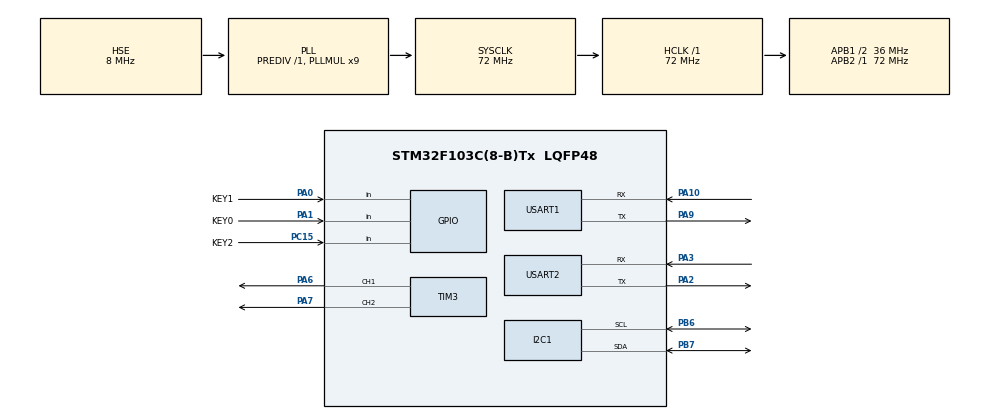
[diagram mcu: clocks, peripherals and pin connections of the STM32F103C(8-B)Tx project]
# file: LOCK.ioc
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Dma.Request0=USART2_RX
Dma.Request1=USART2_TX
Dma.USART2_RX.0.Direction=DMA_PERIPH_TO_MEMORY
Dma.USART2_RX.0.Instance=DMA1_Channel6
Dma.USART2_RX.0.MemDataAlignment=DMA_MDATAALIGN_BYTE
Dma.USART2_RX.0.MemInc=DMA_MINC_ENABLE
Dma.USART2_RX.0.Mode=DMA_NORMAL
Dma.USART2_RX.0.PeriphDataAlignment=DMA_PDATAALIGN_BYTE
Dma.USART2_RX.0.PeriphInc=DMA_PINC_DISABLE
Dma.USART2_RX.0.Priority=DMA_PRIORITY_LOW
Dma.USART2_TX.1.Direction=DMA_MEMORY_TO_PERIPH
Dma.USART2_TX.1.Instance=DMA1_Channel7
Dma.USART2_TX.1.MemDataAlignment=DMA_MDATAALIGN_BYTE
Dma.USART2_TX.1.MemInc=DMA_MINC_ENABLE
Dma.USART2_TX.1.Mode=DMA_NORMAL
Dma.USART2_TX.1.PeriphDataAlignment=DMA_PDATAALIGN_BYTE
Dma.USART2_TX.1.PeriphInc=DMA_PINC_DISABLE
Dma.USART2_TX.1.Priority=DMA_PRIORITY_LOW
FREERTOS.Tasks01=defaultTask,24,128,StartDefaultTask,Default,NULL,Dynamic,NULL,NULL
I2C1.I2C_Mode=I2C_Fast
Mcu.Family=STM32F1
Mcu.Name=STM32F103C(8-B)Tx
Mcu.Package=LQFP48
NVIC.DMA1_Channel6_IRQn=true\:5\:0\:false\:false\:true\:true\:false\:true\:true
NVIC.DMA1_Channel7_IRQn=true\:5\:0\:false\:false\:true\:true\:false\:true\:true
NVIC.PriorityGroup=NVIC_PRIORITYGROUP_4
NVIC.TIM2_IRQn=true\:15\:0\:false\:false\:true\:false\:false\:true\:true
NVIC.TimeBase=TIM2_IRQn
NVIC.TimeBaseIP=TIM2
NVIC.USART2_IRQn=true\:5\:0\:false\:false\:true\:true\:true\:true\:true
PA0-WKUP.GPIO_Label=KEY1
PA0-WKUP.Signal=GPIO_Input
PA1.GPIO_Label=KEY0
PA1.Signal=GPIO_Input
PA10.Mode=Asynchronous
PA10.Signal=USART1_RX
PA13.Mode=Serial_Wire
PA13.Signal=SYS_JTMS-SWDIO
PA14.Mode=Serial_Wire
PA14.Signal=SYS_JTCK-SWCLK
PA2.Mode=Asynchronous
PA2.Signal=USART2_TX
PA3.Mode=Asynchronous
PA3.Signal=USART2_RX
PA6.Signal=S_TIM3_CH1
PA7.Signal=S_TIM3_CH2
PA9.Mode=Asynchronous
PA9.Signal=USART1_TX
PB6.Mode=I2C
PB6.Signal=I2C1_SCL
PB7.Mode=I2C
PB7.Signal=I2C1_SDA
PC15-OSC32_OUT.GPIO_Label=KEY2
PC15-OSC32_OUT.Signal=GPIO_Input
PD0-OSC_IN.Mode=HSE-External-Oscillator
PD0-OSC_IN.Signal=RCC_OSC_IN
PD1-OSC_OUT.Mode=HSE-External-Oscillator
PD1-OSC_OUT.Signal=RCC_OSC_OUT
ProjectManager.HeapSize=0x200
ProjectManager.StackSize=0x400
ProjectManager.TargetToolchain=MDK-ARM V5.32
RCC.AHBFreq_Value=72000000
RCC.APB1CLKDivider=RCC_HCLK_DIV2
RCC.APB1Freq_Value=36000000
RCC.APB1TimFreq_Value=72000000
RCC.APB2Freq_Value=72000000
RCC.APB2TimFreq_Value=72000000
RCC.HCLKFreq_Value=72000000
RCC.PLLMUL=RCC_PLL_MUL9
RCC.PLLSourceVirtual=RCC_PLLSOURCE_HSE
RCC.SYSCLKFreq_VALUE=72000000
RCC.SYSCLKSource=RCC_SYSCLKSOURCE_PLLCLK
RCC.USBFreq_Value=72000000
SH.S_TIM3_CH1.0=TIM3_CH1,PWM Generation1 CH1
SH.S_TIM3_CH2.0=TIM3_CH2,PWM Generation2 CH2
TIM3.Channel-PWM\ Generation1\ CH1=TIM_CHANNEL_1
TIM3.Channel-PWM\ Generation2\ CH2=TIM_CHANNEL_2
USART1.VirtualMode=VM_ASYNC
USART2.VirtualMode=VM_ASYNC
VP_FREERTOS_VS_CMSIS_V2.Mode=CMSIS_V2
VP_SYS_VS_tim2.Mode=TIM2
board=custom

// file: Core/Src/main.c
/* USER CODE BEGIN Header */
/**
  ******************************************************************************
  * @file           : main.c
  * @brief          : Main program body
  ******************************************************************************
  * @attention
  *
  * Copyright (c) 2024 STMicroelectronics.
  * All rights reserved.
  *
  * This software is licensed under terms that can be found in the LICENSE file
  * in the root directory of this software component.
  * If no LICENSE file comes with this software, it is provided AS-IS.
  *
  ******************************************************************************
  */
/* USER CODE END Header */
#include "main.h"
#include "cmsis_os.h"
#include "dma.h"
#include "i2c.h"
#include "tim.h"
#include "usart.h"
#include "gpio.h"

/* USER CODE BEGIN Includes */
#include <stdio.h>
#include <string.h>
/* USER CODE END Includes */

void SystemClock_Config(void);
void MX_FREERTOS_Init(void);
/* USER CODE BEGIN PFP */
int fputc(int ch, FILE *f)
{
  HAL_UART_Transmit(&huart1, (uint8_t *)&ch, 1, 0xffff);
  return ch;
}
int fgetc(FILE *f)
{
  uint8_t ch = 0;
  HAL_UART_Receive(&huart1, &ch, 1, 0xffff);
  return ch;
}
/* USER CODE END PFP */

int main(void)
{

  /* MCU Configuration--------------------------------------------------------*/

  /* Reset of all peripherals, Initializes the Flash interface and the Systick. */
  HAL_Init();

  /* Configure the system clock */
  SystemClock_Config();

  /* Initialize all configured peripherals */
  MX_GPIO_Init();
  MX_DMA_Init();
  MX_TIM3_Init();
  MX_USART1_UART_Init();
  MX_USART2_UART_Init();
  MX_I2C1_Init();
  /* USER CODE BEGIN 2 */
  printf("ready");
  /* USER CODE END 2 */

  /* Init scheduler */
  osKernelInitialize();

  /* Call init function for freertos objects (in cmsis_os2.c) */
  MX_FREERTOS_Init();

  /* Start scheduler */
  osKernelStart();

  /* We should never get here as control is now taken by the scheduler */

  /* Infinite loop */
  while (1)
  {

  }
}

void SystemClock_Config(void)
{
  RCC_OscInitTypeDef RCC_OscInitStruct = {0};
  RCC_ClkInitTypeDef RCC_ClkInitStruct = {0};

  /** Initializes the RCC Oscillators according to the specified parameters
  * in the RCC_OscInitTypeDef structure.
  */
  RCC_OscInitStruct.OscillatorType = RCC_OSCILLATORTYPE_HSE;
  RCC_OscInitStruct.HSEState = RCC_HSE_ON;
  RCC_OscInitStruct.HSEPredivValue = RCC_HSE_PREDIV_DIV1;
  RCC_OscInitStruct.HSIState = RCC_HSI_ON;
  RCC_OscInitStruct.PLL.PLLState = RCC_PLL_ON;
  RCC_OscInitStruct.PLL.PLLSource = RCC_PLLSOURCE_HSE;
  RCC_OscInitStruct.PLL.PLLMUL = RCC_PLL_MUL9;
  if (HAL_RCC_OscConfig(&RCC_OscInitStruct) != HAL_OK)
  {
    Error_Handler();
  }

  /** Initializes the CPU, AHB and APB buses clocks
  */
  RCC_ClkInitStruct.ClockType = RCC_CLOCKTYPE_HCLK|RCC_CLOCKTYPE_SYSCLK
                              |RCC_CLOCKTYPE_PCLK1|RCC_CLOCKTYPE_PCLK2;
  RCC_ClkInitStruct.SYSCLKSource = RCC_SYSCLKSOURCE_PLLCLK;
  RCC_ClkInitStruct.AHBCLKDivider = RCC_SYSCLK_DIV1;
  RCC_ClkInitStruct.APB1CLKDivider = RCC_HCLK_DIV2;
  RCC_ClkInitStruct.APB2CLKDivider = RCC_HCLK_DIV1;

  if (HAL_RCC_ClockConfig(&RCC_ClkInitStruct, FLASH_LATENCY_2) != HAL_OK)
  {
    Error_Handler();
  }
}

void HAL_TIM_PeriodElapsedCallback(TIM_HandleTypeDef *htim)
{
  if (htim->Instance == TIM2) {
    HAL_IncTick();
  }
}

void Error_Handler(void)
{
  __disable_irq();
  while (1)
  {
  }
}

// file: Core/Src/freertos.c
/* USER CODE BEGIN Header */
/**
  ******************************************************************************
  * File Name          : freertos.c
  * Description        : Code for freertos applications
  ******************************************************************************
  * @attention
  *
  * Copyright (c) 2024 STMicroelectronics.
  * All rights reserved.
  *
  * This software is licensed under terms that can be found in the LICENSE file
  * in the root directory of this software component.
  * If no LICENSE file comes with this software, it is provided AS-IS.
  *
  ******************************************************************************
  */
/* USER CODE END Header */

#include "FreeRTOS.h"
#include "task.h"
#include "main.h"
#include "cmsis_os.h"

/* USER CODE BEGIN Includes */

#include "dma.h"
#include "tim.h"
#include "usart.h"
#include "gpio.h"
#include <stdio.h>
#include <string.h>
#include "oled.h"

/* USER CODE END Includes */

/* USER CODE BEGIN PTD */
typedef enum
{
    INIT                    = 0x01,
    GET_IMAGE               = 0x02,
    GEN_CHAR                = 0x03,
    SEARCH_FINGERPRINT      = 0x04,
    SUCCESS_USER            = 0x05,
    FAILURE                 = 0x06
} FingerprintStateTypedef;

typedef enum
{

    ERR                    = 0x00,
    OK                     = 0x01,

} FlagTypedef;

/* USER CODE END PTD */

/* USER CODE BEGIN Variables */
TaskHandle_t xFingerprintModuleTaskHandle = NULL;
TaskHandle_t xOLEDTaskHandle = NULL;

FlagTypedef receiveFlag = ERR;
FingerprintStateTypedef fingerprintState;
uint8_t fingerID;

const uint8_t transmitBuff_PS_GetImage[20] = {0xEF, 0x01, 0xFF, 0xFF, 0xFF, 0xFF, 0x01, 0x00, 0x03, 0x01, 0x00, 0x05};
const uint8_t transmitBuff_PS_GenChar[20] = {0xEF, 0x01, 0xFF, 0xFF, 0xFF, 0xFF, 0x01, 0x00, 0x04, 0x02, 0x01, 0x00, 0x08};
const uint8_t transmitBuff_PS_Search[20] = {0xEF, 0x01, 0xFF, 0xFF, 0xFF, 0xFF, 0x01, 0x00, 0x08, 0x04, 0x01, 0x00, 0x00, 0x00, 0x20, 0x00, 0x2E};
const uint8_t transmitBuff_PS_ControlBLN_Success[20] = {0xEF, 0x01, 0xFF, 0xFF, 0xFF, 0xFF, 0x01, 0x00, 0x07, 0x3C, 0x02, 0x07, 0x07, 0x05, 0x00, 0x59};
const uint8_t transmitBuff_PS_ControlBLN_Failure[20] = {0xEF, 0x01, 0xFF, 0xFF, 0xFF, 0xFF, 0x01, 0x00, 0x07, 0x3C, 0x02, 0x04, 0x04, 0x05, 0x00, 0x53};

uint8_t receiveBuff[20];

const Image* imageArray[] = {

    &Expression_Blink_highImg,

    &Expression_HappyImg,
    &Expression_AngryImg,
    &Expression_AnnoyedImg,
    &Expression_Blink_lowImg,
    &Expression_BoredImg,
    &Expression_FocusedImg,
    &Expression_GleeImg,

    &Expression_Sad_upImg,

    &Expression_UnimpressedImg,

};

/* USER CODE END Variables */
/* Definitions for defaultTask */
osThreadId_t defaultTaskHandle;
const osThreadAttr_t defaultTask_attributes = {
  .name = "defaultTask",
  .stack_size = 128 * 4,
  .priority = (osPriority_t) osPriorityNormal,
};

/* USER CODE BEGIN FunctionPrototypes */
void FingerprintModuleTask(void *argument);
void OledTask(void *argument);

uint8_t SendCommand(const uint8_t* transmitBuff, uint16_t transmitSize, uint32_t timeout);
// 0xEF, 0x01, 0xFF, 0xFF, 0xFF, 0xFF, 0x07, 0x00, 0x03, 0x00, 0x00, 0x0A
void HAL_UARTEx_RxEventCallback(UART_HandleTypeDef * huart, uint16_t Size)
{

  if (huart == &huart2)
  {
    // for (int i = 0; i < 15; i++)
    // {
    //   printf("0x%x", receiveBuff[i]);
    // }
    switch (fingerprintState)
    {
    case GET_IMAGE:
      if (receiveBuff[6] + receiveBuff[7] + receiveBuff[8] + receiveBuff[9] == receiveBuff[10] + receiveBuff[11])
      {
        if (receiveBuff[9] == 0x00)
        {
          receiveFlag = OK;
        }
        else
        {
          receiveFlag = ERR;
        }
      }
      break;

    case GEN_CHAR:
      if (receiveBuff[6] + receiveBuff[7] + receiveBuff[8] + receiveBuff[9] == receiveBuff[10] + receiveBuff[11])
      {
        if (receiveBuff[9] == 0x00)
        {
          receiveFlag = OK;
        }
        else
        {
          receiveFlag = ERR;
        }
      }
      break;

    case SEARCH_FINGERPRINT:
      if (receiveBuff[6] + receiveBuff[7] + receiveBuff[8] + receiveBuff[9] + receiveBuff[10] + receiveBuff[11] + receiveBuff[12] + receiveBuff[13] == receiveBuff[14] + receiveBuff[15])
      {
        if (receiveBuff[9] == 0x00)
        {
          receiveFlag = OK;
          fingerID = receiveBuff[10] + receiveBuff[11];
        }
        else
        {
          receiveFlag = ERR;
        }
      }
      break;
    default:
      break;
    }

  }

  HAL_UARTEx_ReceiveToIdle_DMA(&huart2, receiveBuff, sizeof(receiveBuff));
}

/* USER CODE END FunctionPrototypes */

void StartDefaultTask(void *argument);

void MX_FREERTOS_Init(void); /* (MISRA C 2004 rule 8.1) */

void MX_FREERTOS_Init(void) {

  /* Create the thread(s) */
  /* creation of defaultTask */
  defaultTaskHandle = osThreadNew(StartDefaultTask, NULL, &defaultTask_attributes);

  /* USER CODE BEGIN RTOS_THREADS */
  /* add threads, ... */
  xTaskCreate(FingerprintModuleTask, "FingerprintRecognition", 256, NULL, osPriorityNormal, &xFingerprintModuleTaskHandle);
  xTaskCreate(OledTask, "OLEDTask", 128, NULL, osPriorityNormal, &xOLEDTaskHandle);

  /* USER CODE END RTOS_THREADS */

}

void StartDefaultTask(void *argument)
{
  for(;;)
  {
  }
}

/* USER CODE BEGIN Application */
void FingerprintModuleTask(void *argument)
{
  uint8_t cmdResult = 0;
  fingerprintState = INIT;
  while (1)
  {
    switch (fingerprintState)
    {
    case INIT:
      fingerprintState = GET_IMAGE;

      break;

    case GET_IMAGE:
      cmdResult = SendCommand(transmitBuff_PS_GetImage, 12, 3000);

      if (cmdResult == 1)
      {
        fingerprintState = GEN_CHAR;
      }
      else
      {
        fingerprintState = GET_IMAGE;
      }
      break;

    case GEN_CHAR:
      cmdResult = SendCommand(transmitBuff_PS_GenChar, 13, 3000);

      if (cmdResult == 1)
      {
        fingerprintState = SEARCH_FINGERPRINT;
      }
      else
      {
        fingerprintState = FAILURE;
      }

      break;
    case SEARCH_FINGERPRINT:
      cmdResult = SendCommand(transmitBuff_PS_Search, 17, 3000);

      if (cmdResult == 1)
      {
        fingerprintState = SUCCESS_USER;
      }
      else
      {
        fingerprintState = FAILURE;
      }
      break;

    case SUCCESS_USER:
      printf("ok\n");
      SendCommand(transmitBuff_PS_ControlBLN_Success, 16, 0);

      // 打开门锁
      fingerprintState = INIT;
      break;

    case FAILURE:
      SendCommand(transmitBuff_PS_ControlBLN_Failure, 16, 0);

      fingerprintState = INIT;
      break;

    default:
      break;
    }
  }
}

void OledTask(void *argument)
{
  vTaskDelay(20);
  OLED_Init();

//   HAL_Delay(500);
  // OLED_NewFrame();
  //      OLED_PrintString(0, 0, "波特律动hello", &font16x16, OLED_COLOR_NORMAL);

  // OLED_ShowFrame();
  while(1)
  {
    for (int i = 0; i < 10; i++)
    {
      OLED_NewFrame();
      OLED_DrawImage(0, 0, imageArray[i], OLED_COLOR_NORMAL);
      OLED_ShowFrame();
      vTaskDelay(2000);
    }

  }
}

uint8_t SendCommand(const uint8_t* transmitBuff, uint16_t transmitSize, uint32_t timeout)
{
  uint32_t startTime = HAL_GetTick();
  HAL_UART_Transmit_DMA(&huart2, transmitBuff, transmitSize);
  HAL_UARTEx_ReceiveToIdle_DMA(&huart2, receiveBuff, sizeof(receiveBuff));

  while (receiveFlag == ERR)
  {
    if ((HAL_GetTick() - startTime) > timeout)
    {
      receiveFlag = ERR;
      break;
    }
    osDelay(10);
  }

  if (receiveFlag == OK)
  {
    receiveFlag = ERR;
    return 1;
  }
  else
  {
    return 0;
  }
}
/* USER CODE END Application */
